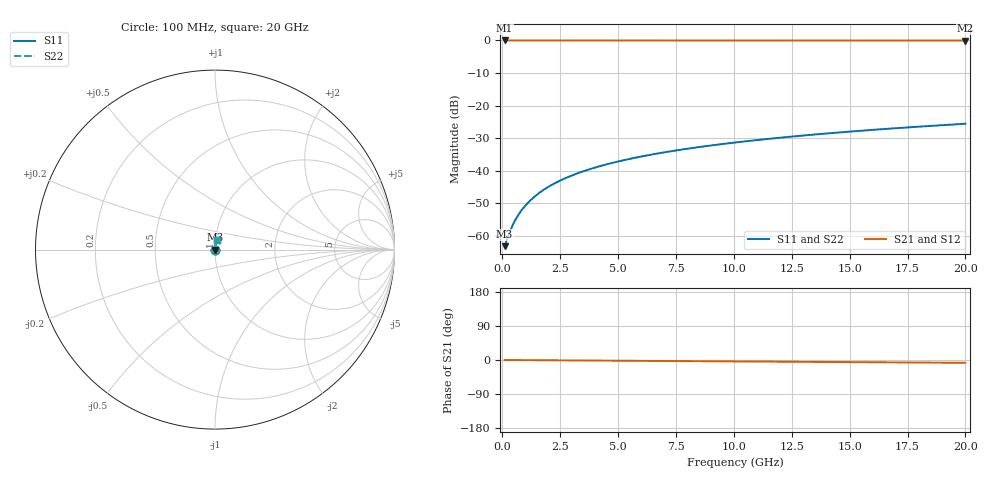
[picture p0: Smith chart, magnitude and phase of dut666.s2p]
! Touchstone file exported from HFSS 2026.1.0
!  File:  C:/ffzhzh/LocalFiles/Ansys_Project_Files/temp_train_TSV_666_1783027039_53980.aedt
!  Generated:  05:19:32 AM Jul  3, 2026
!  Design:  TSV
!  Project:  temp_train_TSV_666_1783027039_53980
! Variables:
!  h_bsmrdl = 2um
!  h_ox = 20um
!  h_rdl = 5um
!  h_sub = 68.91um
!  h_tmrdl = 5um
!  h_tsv = 68.91um
!  h_via = 3um
!  l_bsmrdl = 300um
!  l_sub = 407.26um
!  l_tmrdl = 200um
!  m_sub = 200um
!  pitch = 27.82um
!  r_tsv = 3.63um
!  s_tmrdl = 10um
!  w_bsmrdl = 18um
!  w_sub = 500um
!  w_tmrdl = 12um
!  x_tsv_center1 = 206um
!  x_tsv_center2 = 524um
!  x_tsv_center3 = 736um
!  x_tsv_center4 = 1054um
!  x_tsv_center5 = 1266um
!  x_tsv_center6 = 1584um
# GHz S MA R 50.000000
! Terminal data exported
! Port[1] = TSV1_1_T1
! Port[2] = TSV1_1_T2
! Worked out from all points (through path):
!   200 points, 100 MHz to 20 GHz, reference 50 ohm
!   highest |S21| = -0.01 dB at 100 MHz (marker M1); lowest = 0.0 dB at 20 GHz (marker M2)
!   group delay of S21, straight-line fit = 1.03 ps
!   lowest |S11| = -63.1 dB at 100 MHz (marker M3), VSWR 1.00, Z = 50.1 + j0.0299 ohm
!   |S11| at or under -10 dB: start of sweep to end of sweep
!   |S22| runs from -63.1 to -25.6 dB; largest |S21 - S12| = 4.2e-15
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0.1  0.0006965 25.4  0.9994 -0.0  0.9994 -0.0  0.0006965 25.4
! Gamma 0 0 0 0
! Port Impedance 50 0 50 0
0.3  0.001095 53.3  0.9993 -0.1  0.9993 -0.1  0.001095 53.3
0.4  0.001338 60.1  0.9993 -0.2  0.9993 -0.2  0.001338 60.1
0.5  0.001592 64.8  0.9993 -0.2  0.9993 -0.2  0.001592 64.8
0.6  0.001853 68.2  0.9993 -0.2  0.9993 -0.2  0.001853 68.2
0.7  0.002119 70.8  0.9993 -0.3  0.9993 -0.3  0.002119 70.8
0.9  0.002658 74.4  0.9993 -0.3  0.9993 -0.3  0.002658 74.4
1.2  0.003479 77.6  0.9993 -0.5  0.9993 -0.5  0.003479 77.6
1.4  0.004031 79.0  0.9993 -0.5  0.9993 -0.5  0.004031 79.0
1.7  0.004862 80.4  0.9992 -0.6  0.9992 -0.6  0.004862 80.4
2.2  0.006247 81.7  0.9992 -0.8  0.9992 -0.8  0.006247 81.7
2.8  0.007905 82.6  0.9991 -1.1  0.9991 -1.1  0.007905 82.6
3.5  0.009825 83.1  0.999 -1.3  0.999 -1.3  0.009825 83.1
4.2  0.01173 83.2  0.9989 -1.6  0.9989 -1.6  0.01173 83.2
5  0.01388 83.3  0.9987 -1.9  0.9987 -1.9  0.01388 83.3
5.9  0.01629 83.2  0.9986 -2.2  0.9986 -2.2  0.01629 83.2
6.8  0.01867 83.1  0.9984 -2.6  0.9984 -2.6  0.01867 83.1
8.3  0.0226 82.8  0.9982 -3.1  0.9982 -3.1  0.0226 82.8
10.1  0.02727 82.5  0.9978 -3.8  0.9978 -3.8  0.02727 82.5
13.4  0.03578 81.7  0.9973 -5.0  0.9973 -5.0  0.03578 81.7
16.7  0.04424 80.8  0.9967 -6.2  0.9967 -6.2  0.04424 80.8
20  0.05264 79.8  0.9961 -7.4  0.9961 -7.4  0.05264 79.8
